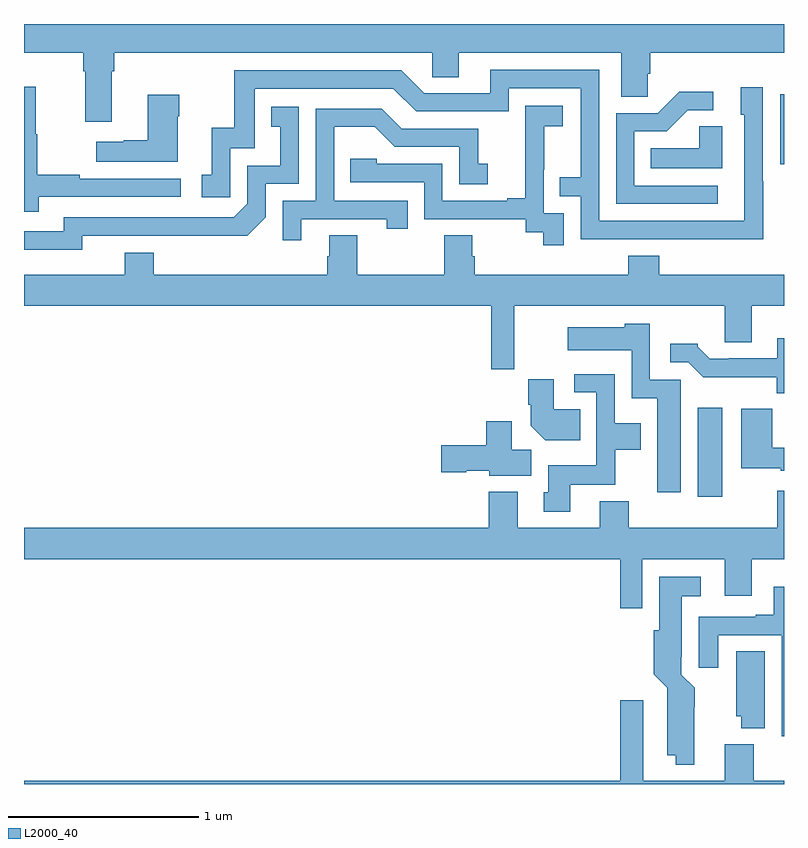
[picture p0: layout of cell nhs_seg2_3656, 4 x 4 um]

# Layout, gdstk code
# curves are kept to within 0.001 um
import gdstk
lib = gdstk.Library(unit=1e-6, precision=1e-09)
def R(c, l, rs):  # rectangles x0, y0, x1, y1
    for r in rs: c.add(gdstk.rectangle(r[:2], r[2:], *l))
def P(c, l, *ps):  # polygons
    for p in ps: c.add(gdstk.Polygon(p, *l))
L2000_40 = (2000, 40)

nhs_seg2_3656 = lib.new_cell('nhs_seg2_3656')
R(nhs_seg2_3656, L2000_40, [(306.545,633.312,306.676,633.781), (306.981,635.061,307,635.43)])
P(nhs_seg2_3656, L2000_40, [(303.463,635.552),(303.476,635.552),(303.476,635.648),(305.148,635.648),(305.148,635.521),(305.287,635.521),(305.287,635.648),(306.143,635.648),(306.143,635.416),(306.282,635.416),(306.282,635.539),(306.296,635.539),(306.296,635.648),(307,635.648),(307,635.8),(303,635.8),(303,635.648),(303.311,635.648),(303.311,635.552),(303.323,635.552),(303.323,635.286),(303.463,635.286)],
  [(306.891,634.973),(306.888,634.973),(306.888,635.467),(306.773,635.467),(306.773,635.322),(306.792,635.322),(306.792,634.764),(306.027,634.764),(306.027,635.559),(305.453,635.559),(305.453,635.436),(305.106,635.436),(304.986,635.556),(304.107,635.556),(304.107,635.254),(303.989,635.254),(303.989,635.007),(303.936,635.007),(303.936,634.887),(304.086,634.887),(304.086,635.145),(304.215,635.145),(304.215,635.46),(304.944,635.46),(305.064,635.34),(305.55,635.34),(305.55,635.463),(305.931,635.463),(305.931,634.994),(305.821,634.994),(305.821,634.893),(305.931,634.893),(305.931,634.668),(306.891,634.667)],
  [(303.077,634.89),(303.826,634.89),(303.826,634.986),(303.293,634.986),(303.293,635.006),(303.07,635.006),(303.07,635.22),(303.062,635.22),(303.062,635.47),(303,635.47),(303,634.812),(303.077,634.812)],
  [(306.652,634.95),(306.213,634.95),(306.213,635.235),(306.382,635.235),(306.493,635.346),(306.628,635.346),(306.628,635.444),(306.449,635.444),(306.336,635.331),(306.117,635.331),(306.117,634.854),(306.652,634.854)],
  [(303.808,635.315),(303.816,635.315),(303.816,635.428),(303.65,635.428),(303.65,635.189),(303.524,635.189),(303.524,635.179),(303.381,635.179),(303.381,635.075),(303.808,635.075)],
  [(305.841,634.803),(305.736,634.803),(305.736,635.033),(305.738,635.033),(305.738,635.261),(305.836,635.261),(305.836,635.371),(305.638,635.371),(305.638,635.165),(305.639,635.165),(305.639,634.882),(305.543,634.882),(305.543,634.869),(305.202,634.869),(305.202,635.064),(304.857,635.064),(304.857,635.091),(304.717,635.091),(304.717,634.968),(305.106,634.968),(305.106,634.773),(305.64,634.773),(305.64,634.705),(305.733,634.705),(305.733,634.635),(305.841,634.635)],
  [(303.306,634.686),(304.174,634.685),(304.272,634.782),(304.272,634.959),(304.446,634.959),(304.446,635.365),(304.3,635.365),(304.3,635.259),(304.349,635.259),(304.349,635.055),(304.176,635.055),(304.176,634.854),(304.104,634.782),(303.21,634.782),(303.21,634.71),(303,634.71),(303,634.613),(303.306,634.613)],
  [(304.459,634.773),(304.91,634.773),(304.91,634.722),(305.021,634.722),(305.021,634.869),(304.632,634.869),(304.632,635.258),(304.846,635.258),(304.95,635.154),(305.292,635.154),(305.292,634.956),(305.44,634.956),(305.44,635.065),(305.391,635.065),(305.391,635.25),(304.987,635.25),(304.882,635.355),(304.536,635.355),(304.536,634.869),(304.362,634.869),(304.362,634.662),(304.459,634.662)],
  [(306.676,635.261),(306.555,635.261),(306.555,635.146),(306.298,635.146),(306.298,635.042),(306.676,635.042)],
  [(305.579,634.316),(306.689,634.316),(306.689,634.126),(306.829,634.126),(306.829,634.316),(307,634.316),(307,634.48),(306.344,634.48),(306.344,634.579),(306.179,634.579),(306.179,634.48),(305.372,634.48),(305.372,634.578),(305.359,634.578),(305.359,634.688),(305.212,634.688),(305.212,634.48),(304.755,634.48),(304.755,634.688),(304.607,634.688),(304.607,634.578),(304.595,634.578),(304.595,634.48),(303.683,634.48),(303.683,634.597),(303.53,634.597),(303.53,634.48),(303,634.48),(303,634.316),(305.458,634.316),(305.458,633.984),(305.579,633.984)],
  [(306.457,633.927),(306.294,633.927),(306.294,634.222),(306.162,634.222),(306.162,634.204),(305.862,634.204),(305.862,634.082),(306.198,634.082),(306.198,633.83),(306.332,633.83),(306.332,633.336),(306.457,633.336)],
  [(307,634.147),(306.965,634.147),(306.965,634.041),(306.709,634.041),(306.709,634.038),(306.61,634.038),(306.546,634.102),(306.546,634.117),(306.402,634.117),(306.402,634.02),(306.495,634.02),(306.574,633.942),(306.963,633.942),(306.963,633.857),(307,633.857)],
  [(305.875,633.374),(306.111,633.374),(306.111,633.56),(306.247,633.56),(306.247,633.7),(306.108,633.7),(306.108,633.957),(305.895,633.957),(305.895,633.861),(306.012,633.861),(306.012,633.478),(305.759,633.478),(305.759,633.336),(305.735,633.336),(305.735,633.234),(305.875,633.234)],
  [(305.927,633.772),(305.788,633.772),(305.788,633.931),(305.654,633.931),(305.654,633.796),(305.666,633.796),(305.666,633.686),(305.744,633.608),(305.927,633.608)],
  [(307,633.571),(306.938,633.571),(306.938,633.775),(306.776,633.775),(306.776,633.461),(306.984,633.461),(306.984,633.449),(307,633.449)],
  [(305.671,633.56),(305.566,633.56),(305.566,633.709),(305.432,633.709),(305.432,633.584),(305.196,633.584),(305.196,633.442),(305.328,633.442),(305.328,633.449),(305.448,633.449),(305.448,633.422),(305.671,633.422)],
  [(307,633.343),(306.965,633.343),(306.965,633.148),(306.182,633.148),(306.182,633.289),(306.029,633.289),(306.029,633.148),(305.599,633.148),(305.599,633.337),(305.447,633.337),(305.447,633.148),(303,633.148),(303,632.984),(306.139,632.984),(306.139,632.724),(306.255,632.724),(306.255,632.984),(306.689,632.984),(306.689,632.79),(306.829,632.79),(306.829,632.984),(307,632.984)],
  [(306.528,632.204),(306.529,632.306),(306.459,632.376),(306.459,632.47),(306.463,632.47),(306.463,632.789),(306.562,632.789),(306.562,632.89),(306.344,632.89),(306.344,632.61),(306.314,632.61),(306.314,632.378),(306.386,632.306),(306.386,631.952),(306.431,631.952),(306.431,631.901),(306.528,631.901)],
  [(307,632.839),(306.947,632.839),(306.947,632.692),(306.851,632.692),(306.851,632.679),(306.551,632.679),(306.551,632.412),(306.655,632.412),(306.655,632.583),(306.989,632.583),(306.989,632.052),(307,632.052)],
  [(306.898,632.498),(306.749,632.498),(306.749,632.157),(306.776,632.157),(306.776,632.093),(306.898,632.093)],
  [(307,631.816),(306.842,631.816),(306.842,632.008),(306.689,632.008),(306.689,631.816),(306.259,631.816),(306.259,632.242),(306.137,632.242),(306.137,631.816),(303,631.816),(303,631.8),(307,631.8)])

lib.write_gds('nhs_seg2_3656.gds')
